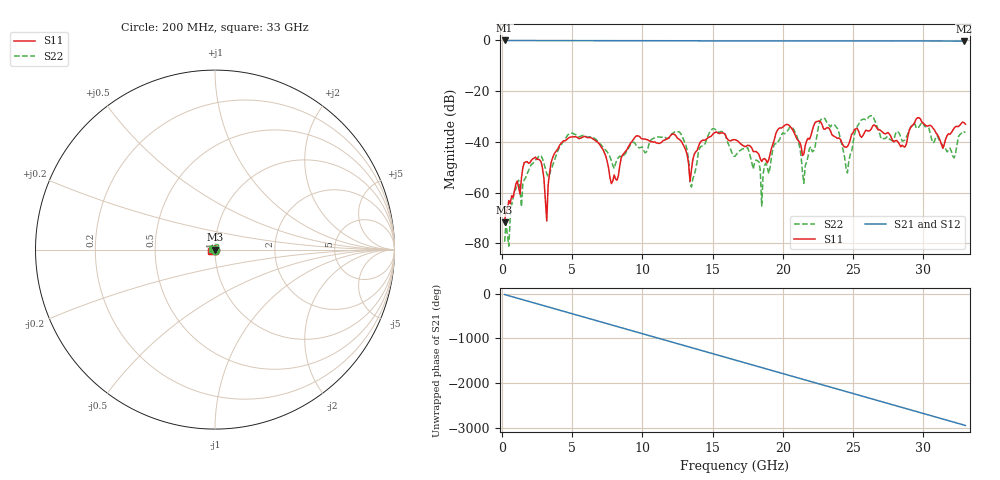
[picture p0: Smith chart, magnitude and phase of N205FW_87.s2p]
# GHZ S RI R 50
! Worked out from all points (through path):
!   329 points, 200 MHz to 33 GHz, reference 50 ohm
!   highest |S21| = -0.02 dB at 200 MHz (marker M1); lowest = -0.3 dB at 32.9 GHz (marker M2)
!   group delay of S21, straight-line fit = 248 ps
!   lowest |S11| = -71.7 dB at 200 MHz (marker M3), VSWR 1.00, Z = 50 - j0.011 ohm
!   |S11| at or under -10 dB: start of sweep to end of sweep
!   |S22| runs from -81.1 to -29.7 dB; largest |S21 - S12| = 0.0022
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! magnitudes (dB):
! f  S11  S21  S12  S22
! 200 MHz  -71.7  0.0  0.0  -79.3
! 2.4 GHz  -46.0  -0.1  -0.1  -47.1
! 3.2 GHz  -71.1  -0.1  -0.1  -52.5
! 3.7 GHz  -45.1  -0.1  -0.1  -47.9
! 5.7 GHz  -38.3  -0.1  -0.1  -37.5
! 7.8 GHz  -56.4  -0.1  -0.1  -47.4
! 11.2 GHz  -40.6  -0.1  -0.1  -38.0
! 12.7 GHz  -39.3  -0.2  -0.2  -36.4
! 13.5 GHz  -51.0  -0.2  -0.2  -57.8
! 15 GHz  -37.1  -0.2  -0.2  -34.8
! 16.6 GHz  -39.1  -0.2  -0.2  -45.6
! 18.3 GHz  -44.9  -0.2  -0.2  -47.8
! 18.5 GHz  -47.7  -0.2  -0.2  -65.2
! 20 GHz  -34.2  -0.2  -0.2  -36.4
! 21.5 GHz  -44.8  -0.2  -0.2  -56.3
! 22.1 GHz  -35.4  -0.2  -0.2  -43.9
! 22.9 GHz  -34.9  -0.2  -0.2  -30.6
! 24.6 GHz  -41.8  -0.2  -0.2  -52.2
! 25.5 GHz  -37.5  -0.2  -0.2  -31.8
! 27.6 GHz  -37.0  -0.2  -0.2  -38.9
! 32.9 GHz  -32.4  -0.3  -0.3  -36.0
! 33 GHz  -33.0  -0.3  -0.3  -36.3
